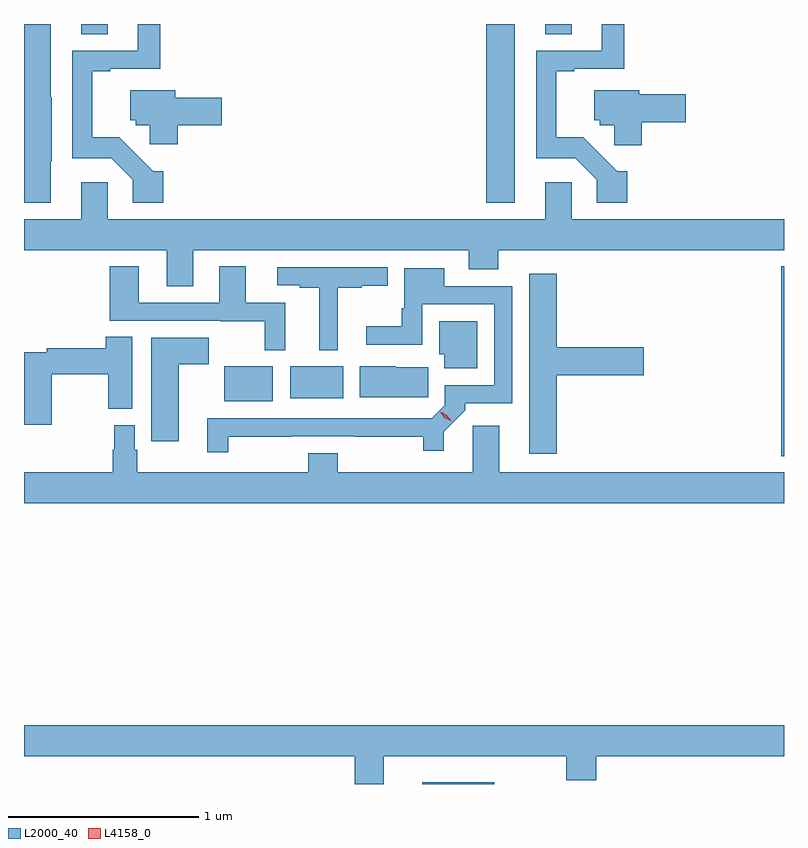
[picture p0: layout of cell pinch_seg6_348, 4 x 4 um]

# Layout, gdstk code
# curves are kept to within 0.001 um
import gdstk
lib = gdstk.Library(unit=1e-6, precision=1e-09)
def R(c, l, rs):  # rectangles x0, y0, x1, y1
    for r in rs: c.add(gdstk.rectangle(r[:2], r[2:], *l))
def P(c, l, *ps):  # polygons
    for p in ps: c.add(gdstk.Polygon(p, *l))
L2000_40 = (2000, 40)
L4158_0 = (4158, 0)

pinch_seg6_348 = lib.new_cell('pinch_seg6_348')
R(pinch_seg6_348, L2000_40, [(731.555,952.519,731.935,952.528), (733.445,954.245,733.459,955.243), (730.514,954.533,730.768,954.718), (730.859,954.548,731.14,954.718), (731.891,955.577,732.043,956.519), (729.761,956.466,729.901,956.519), (732.203,956.466,732.343,956.519)])
P(pinch_seg6_348, L2000_40, [(730.193,955.744),(730.139,955.744),(729.961,955.922),(729.817,955.922),(729.817,956.271),(729.913,956.271),(729.913,956.283),(730.175,956.283),(730.175,956.519),(730.058,956.519),(730.058,956.379),(729.713,956.379),(729.713,955.812),(729.918,955.812),(730.032,955.698),(730.032,955.578),(730.193,955.578)],
  [(732.635,955.744),(732.581,955.744),(732.403,955.922),(732.259,955.922),(732.259,956.271),(732.355,956.271),(732.355,956.283),(732.617,956.283),(732.617,956.519),(732.5,956.519),(732.5,956.379),(732.155,956.379),(732.155,955.812),(732.36,955.812),(732.474,955.698),(732.474,955.578),(732.635,955.578)],
  [(729.601,955.797),(729.604,955.797),(729.604,956.133),(729.601,956.133),(729.601,956.519),(729.459,956.519),(729.459,955.577),(729.601,955.577)],
  [(730.268,955.985),(730.501,955.985),(730.501,956.132),(730.255,956.132),(730.255,956.17),(730.019,956.17),(730.019,956.013),(730.047,956.013),(730.047,955.986),(730.122,955.986),(730.122,955.887),(730.268,955.887)],
  [(732.71,956.003),(732.943,956.003),(732.943,956.15),(732.697,956.15),(732.697,956.17),(732.461,956.17),(732.461,956.013),(732.489,956.013),(732.489,955.986),(732.565,955.986),(732.565,955.881),(732.71,955.881)],
  [(730.351,955.328),(731.801,955.328),(731.801,955.229),(731.954,955.229),(731.954,955.328),(733.459,955.328),(733.459,955.492),(732.342,955.492),(732.342,955.687),(732.203,955.687),(732.203,955.492),(729.9,955.492),(729.9,955.687),(729.761,955.687),(729.761,955.492),(729.459,955.492),(729.459,955.328),(730.211,955.328),(730.211,955.138),(730.351,955.138)],
  [(730.835,955.053),(730.627,955.053),(730.627,955.243),(730.487,955.243),(730.487,955.053),(730.063,955.053),(730.063,955.243),(729.911,955.243),(729.911,954.957),(730.491,954.957),(730.491,954.955),(730.725,954.955),(730.725,954.803),(730.835,954.803)],
  [(731.11,955.131),(731.237,955.131),(731.237,955.142),(731.374,955.142),(731.374,955.239),(730.791,955.239),(730.791,955.143),(730.91,955.143),(730.91,955.131),(731.012,955.131),(731.012,954.803),(731.11,954.803)],
  [(730.534,954.347),(731.559,954.347),(731.559,954.272),(731.668,954.272),(731.668,954.373),(731.782,954.487),(731.782,954.522),(732.03,954.522),(732.03,955.14),(731.671,955.14),(731.671,955.234),(731.46,955.234),(731.46,955.024),(731.448,955.024),(731.448,954.929),(731.259,954.929),(731.259,954.831),(731.556,954.831),(731.556,955.044),(731.934,955.044),(731.934,954.618),(731.673,954.618),(731.673,954.513),(731.604,954.444),(730.424,954.444),(730.424,954.264),(730.534,954.264)],
  [(732.263,954.671),(732.721,954.671),(732.721,954.818),(732.263,954.818),(732.263,955.204),(732.119,955.204),(732.119,954.258),(732.263,954.258)],
  [(731.845,954.955),(731.645,954.955),(731.645,954.78),(731.672,954.78),(731.672,954.707),(731.845,954.707)],
  [(729.604,954.676),(729.902,954.676),(729.902,954.493),(730.03,954.493),(730.03,954.872),(729.89,954.872),(729.89,954.812),(729.58,954.812),(729.58,954.792),(729.459,954.792),(729.459,954.411),(729.604,954.411)],
  [(730.273,954.728),(730.431,954.728),(730.431,954.868),(730.13,954.868),(730.13,954.324),(730.273,954.324)],
  [(731.48,954.555),(731.587,954.555),(731.587,954.712),(731.415,954.712),(731.415,954.718),(731.225,954.718),(731.225,954.554),(731.48,954.554)],
  [(733.459,954.16),(731.959,954.16),(731.959,954.405),(731.821,954.405),(731.821,954.16),(731.109,954.16),(731.109,954.259),(730.954,954.259),(730.954,954.16),(730.054,954.16),(730.054,954.279),(730.041,954.279),(730.041,954.408),(729.933,954.408),(729.933,954.279),(729.925,954.279),(729.925,954.16),(729.459,954.16),(729.459,953.996),(733.459,953.996)],
  [(731.353,952.664),(732.313,952.664),(732.313,952.54),(732.47,952.54),(732.47,952.664),(733.459,952.664),(733.459,952.828),(729.459,952.828),(729.459,952.664),(731.201,952.664),(731.201,952.519),(731.353,952.519)])
P(pinch_seg6_348, L4158_0, [(731.706,954.43),(731.672,954.446),(731.651,954.477),(731.651,954.477),(731.651,954.477),(731.685,954.461),(731.707,954.43),(731.707,954.43)])

lib.write_gds('pinch_seg6_348.gds')
